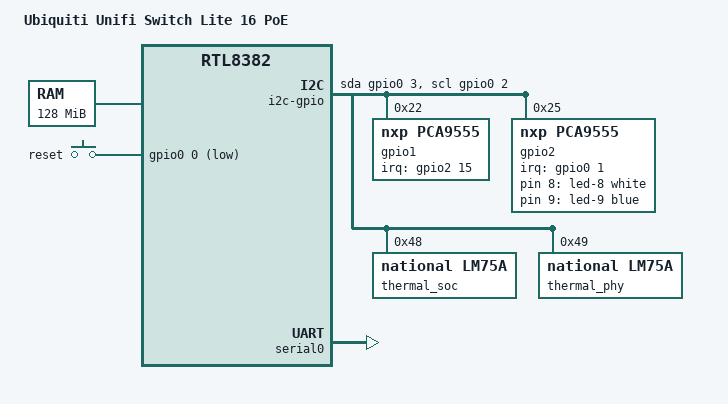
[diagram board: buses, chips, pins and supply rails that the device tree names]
// SPDX-License-Identifier: GPL-2.0-or-later OR BSD-2-Clause

/dts-v1/;

#include "rtl83xx.dtsi"
#include "rtl838x.dtsi"

#include <dt-bindings/gpio/gpio.h>
#include <dt-bindings/input/input.h>
#include <dt-bindings/interrupt-controller/irq.h>
#include <dt-bindings/leds/common.h>

#define POE_LED(idx, gpio) led-##idx {\
	gpios = <&gpio1 gpio GPIO_ACTIVE_HIGH>;\
	color = <LED_COLOR_ID_AMBER>;\
	function = LED_FUNCTION_STATUS;\
	function-enumerator = <##idx>;\
}

/ {
	model = "Ubiquiti Unifi Switch Lite 16 PoE";
	compatible = "ubnt,usw-lite-16-poe", "realtek,rtl8382-soc";

	chosen {
		stdout-path = "serial0";
		bootargs = "earlycon console=ttyS0,115200";
	};

	memory@0 {
		device_type = "memory";
		reg = <0x0 0x8000000>;
	};

	keys {
		compatible = "gpio-keys";

		reset {
			gpios = <&gpio0 0 GPIO_ACTIVE_LOW>;
			linux,code = <KEY_RESTART>;
		};

//		test {
//			gpios = <&gpio1 8 GPIO_ACTIVE_HIGH>;
//			linux,code = <KEY_STOP>;
//		};
	};

	leds {
		compatible = "gpio-leds";

		POE_LED(0, 1);
		POE_LED(1, 0);
		POE_LED(2, 3);
		POE_LED(3, 2);
		POE_LED(4, 5);
		POE_LED(5, 4);
		POE_LED(6, 7);
		POE_LED(7, 6);

		led-8 {
			gpios = <&gpio2 8 GPIO_ACTIVE_HIGH>;
			function = LED_FUNCTION_STATUS;
			color = <LED_COLOR_ID_WHITE>;
		};

		led-9 {
			gpios = <&gpio2 9 GPIO_ACTIVE_HIGH>;
			function = LED_FUNCTION_STATUS;
			color = <LED_COLOR_ID_BLUE>;
		};
	};

	/* Bus 0: PoE, GPIO, sensors */
	i2c-gpio {
		compatible = "i2c-gpio";
		#address-cells = <1>;
		#size-cells = <0>;
		scl-gpios = <&gpio0 2 (GPIO_ACTIVE_HIGH | GPIO_OPEN_DRAIN)>;
		sda-gpios = <&gpio0 3 (GPIO_ACTIVE_HIGH | GPIO_OPEN_DRAIN)>;

//		poe@20 {
//			compatible = /* TODO */
//			reg = <0x20>;
//			/* Currenty implemented as a gpio hog */
//			enable-gpios = <&gpio2 10 GPIO_ACTIVE_HIGH>;
//			/* From PoE daughter board */
//			alarm-gpios = <&gpio2 13 GPIO_ACTIVE_HIGH>;
//		};

		gpio1: gpio@22 {
			compatible = "nxp,pca9555";
			reg = <0x22>;

			gpio-controller;
			#gpio-cells = <2>;

			interrupt-parent = <&gpio2>;
			interrupts = <15 IRQ_TYPE_EDGE_FALLING>;
			interrupt-controller;
			#interrupt-cells = <2>;
		};

		gpio2: gpio@25 {
			compatible = "nxp,pca9555";
			reg = <0x25>;

			gpio-controller;
			#gpio-cells = <2>;

			interrupt-parent = <&gpio0>;
			interrupts = <1 IRQ_TYPE_EDGE_FALLING>;
			interrupt-controller;
			#interrupt-cells = <2>;

			poe-enable {
				gpio-hog;
				gpios = <10 GPIO_ACTIVE_HIGH>;
				output-low;
				line-name = "poe-enable";
			};
		};

		thermal_soc: sensor@48 {
			compatible = "national,lm75a";
			reg = <0x48>;
			#thermal-sensor-cells= <0>;
		};

		thermal_phy: sensor@49 {
			compatible = "national,lm75a";
			reg = <0x49>;
			#thermal-sensor-cells= <0>;
		};
	};


	/* Bus 1 (empty?) */
//	i2c-gpio-aux {
//		compatible = "i2c-gpio";
//		#address-cells = <1>;
//		#size-cells = <0>;
//		scl-gpios = <&gpio0 12 (GPIO_ACTIVE_HIGH | GPIO_OPEN_DRAIN)>;
//		sda-gpios = <&gpio0 13 (GPIO_ACTIVE_HIGH | GPIO_OPEN_DRAIN)>;
//	};

	thermal-zones {
		soc-thermal {
			polling-delay-passive = <250>;
			polling-delay = <1000>;
			thermal-sensors = <&thermal_soc>;

			trips {
				soc_alert: trip-point-0 {
					temperature = <65000>;
					hysteresis = <2000>;
					type = "hot";
				};

				soc_critical: trip-point-1 {
					temperature = <75000>;
					hysteresis = <2000>;
					type = "critical";
				};
			};
		};

		phy-thermal {
			polling-delay-passive = <250>;
			polling-delay = <1000>;
			thermal-sensors = <&thermal_phy>;

			trips {
				phy_alert: trip-point-0 {
					temperature = <65000>;
					hysteresis = <2000>;
					type = "hot";
				};

				phy_critical: trip-point-1 {
					temperature = <75000>;
					hysteresis = <2000>;
					type = "critical";
				};
			};
		};
	};

	switchcore@1b000000 {
		compatible = "syscon", "simple-mfd";
		#address-cells = <1>;
		#size-cells = <1>;
		ranges = <0x0 0x1b000000 0x20000>;

		pinctrl_sysled: pinmux@a000 {
			compatible = "pinctrl-single";
			reg = <0xa000 0x4>;

			pinctrl-single,bit-per-mux;
			pinctrl-single,register-width = <32>;
			pinctrl-single,function-mask = <0x1>;
			#pinctrl-cells = <2>;

			sys_led_pins: pinmux_sys_led_pins {
				pinctrl-single,bits = <0x0 0x0000 0x8000>;
			};
		};

		pinctrl_gpio: pinmux@a0e0 {
			compatible = "pinctrl-single";
			reg = <0xa0e0 0x4>;

			pinctrl-single,bit-per-mux;
			pinctrl-single,register-width = <32>;
			pinctrl-single,function-mask = <0x1>;
			#pinctrl-cells = <2>;

			gpio_mdx_pins: pinmux_gpio_mdx_pins {
				pinctrl-single,bits = <0x0 0x0 0x1>;
			};
		};
	};
};

&gpio0 {
	pinctrl-names = "default";
	pinctrl-0 = <&gpio_mdx_pins>, <&sys_led_pins>;
};

&serial0 {
	status = "okay";
};
